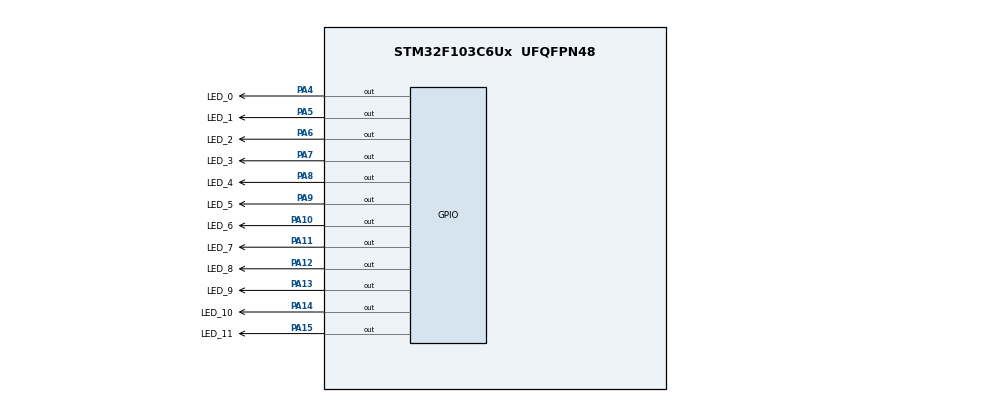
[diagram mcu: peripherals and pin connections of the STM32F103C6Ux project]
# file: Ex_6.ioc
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Mcu.Family=STM32F1
Mcu.Name=STM32F103C6Ux
Mcu.Package=UFQFPN48
NVIC.PriorityGroup=NVIC_PRIORITYGROUP_4
PA10.GPIO_Label=LED_6
PA10.Signal=GPIO_Output
PA11.GPIO_Label=LED_7
PA11.Signal=GPIO_Output
PA12.GPIO_Label=LED_8
PA12.Signal=GPIO_Output
PA13.GPIO_Label=LED_9
PA13.Signal=GPIO_Output
PA14.GPIO_Label=LED_10
PA14.Signal=GPIO_Output
PA15.GPIO_Label=LED_11
PA15.Signal=GPIO_Output
PA4.GPIO_Label=LED_0
PA4.Signal=GPIO_Output
PA5.GPIO_Label=LED_1
PA5.Signal=GPIO_Output
PA6.GPIO_Label=LED_2
PA6.Signal=GPIO_Output
PA7.GPIO_Label=LED_3
PA7.Signal=GPIO_Output
PA8.GPIO_Label=LED_4
PA8.Signal=GPIO_Output
PA9.GPIO_Label=LED_5
PA9.Signal=GPIO_Output
ProjectManager.HeapSize=0x200
ProjectManager.StackSize=0x400
ProjectManager.TargetToolchain=STM32CubeIDE
RCC.APB1Freq_Value=8000000
RCC.APB2Freq_Value=8000000
VP_SYS_VS_ND.Mode=No_Debug
board=custom

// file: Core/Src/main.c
/* USER CODE BEGIN Header */
/**
  ******************************************************************************
  * @file           : main.c
  * @brief          : Main program body
  ******************************************************************************
  * @attention
  *
  * <h2><center>&copy; Copyright (c) 2023 STMicroelectronics.
  * All rights reserved.</center></h2>
  *
  * This software component is licensed by ST under BSD 3-Clause license,
  * the "License"; You may not use this file except in compliance with the
  * License. You may obtain a copy of the License at:
  *                        opensource.org/licenses/BSD-3-Clause
  *
  ******************************************************************************
  */
/* USER CODE END Header */
#include "main.h"

void SystemClock_Config(void);
static void MX_GPIO_Init(void);
/* USER CODE BEGIN PFP */
void ClearAllClock();
void SetNumberOnClock(int num);
void ClearNumberOnClock(int num);
void DisplayClock(int hs, int mins, int secs);
/* USER CODE END PFP */

int main(void)
{

  /* MCU Configuration--------------------------------------------------------*/

  /* Reset of all peripherals, Initializes the Flash interface and the Systick. */
  HAL_Init();

  /* Configure the system clock */
  SystemClock_Config();

  /* Initialize all configured peripherals */
  MX_GPIO_Init();
  /* USER CODE BEGIN 2 */
//  int count = 0;
//  ClearAllClock();
//  while (1)
//  {
//	ClearNumberOnClock(count);
//	++count;
//   	if(count >= 12)
//   	  count = 0;
//   	SetNumberOnClock(count);
//    HAL_Delay(1000);
//  }
  ClearAllClock();
  int hs = 0;
  int mins = 0;
  int secs = 0;
  int count = 0;
  SetNumberOnClock(secs / 5);
  SetNumberOnClock(mins / 5);
  SetNumberOnClock(hs);
  /* USER CODE END 2 */

  /* Infinite loop */
  /* USER CODE BEGIN WHILE */
  while (1)
  {
	if(count >= 5){
	  count = 0;
	  ClearNumberOnClock(secs / 5);
	  secs += 5;
	  if(secs >= 60){
		secs = 0;
		ClearNumberOnClock(mins / 5);
		++mins;
		if(mins >= 60){
		  mins = 0;
		  ClearNumberOnClock(hs);
		  ++hs;
		  if(hs >= 12){
			hs = 0;
		  }
		}
	  }
	  SetNumberOnClock(secs / 5);
	  SetNumberOnClock(mins / 5);
	  SetNumberOnClock(hs);
	}
	++count;
	HAL_Delay(1000);
    /* USER CODE END WHILE */

  }
}

void SystemClock_Config(void)
{
  RCC_OscInitTypeDef RCC_OscInitStruct = {0};
  RCC_ClkInitTypeDef RCC_ClkInitStruct = {0};

  /** Initializes the RCC Oscillators according to the specified parameters
  * in the RCC_OscInitTypeDef structure.
  */
  RCC_OscInitStruct.OscillatorType = RCC_OSCILLATORTYPE_HSI;
  RCC_OscInitStruct.HSIState = RCC_HSI_ON;
  RCC_OscInitStruct.HSICalibrationValue = RCC_HSICALIBRATION_DEFAULT;
  RCC_OscInitStruct.PLL.PLLState = RCC_PLL_NONE;
  if (HAL_RCC_OscConfig(&RCC_OscInitStruct) != HAL_OK)
  {
    Error_Handler();
  }
  /** Initializes the CPU, AHB and APB buses clocks
  */
  RCC_ClkInitStruct.ClockType = RCC_CLOCKTYPE_HCLK|RCC_CLOCKTYPE_SYSCLK
                              |RCC_CLOCKTYPE_PCLK1|RCC_CLOCKTYPE_PCLK2;
  RCC_ClkInitStruct.SYSCLKSource = RCC_SYSCLKSOURCE_HSI;
  RCC_ClkInitStruct.AHBCLKDivider = RCC_SYSCLK_DIV1;
  RCC_ClkInitStruct.APB1CLKDivider = RCC_HCLK_DIV1;
  RCC_ClkInitStruct.APB2CLKDivider = RCC_HCLK_DIV1;

  if (HAL_RCC_ClockConfig(&RCC_ClkInitStruct, FLASH_LATENCY_0) != HAL_OK)
  {
    Error_Handler();
  }
}

static void MX_GPIO_Init(void)
{
  GPIO_InitTypeDef GPIO_InitStruct = {0};

  /* GPIO Ports Clock Enable */
  __HAL_RCC_GPIOA_CLK_ENABLE();

  /*Configure GPIO pin Output Level */
  HAL_GPIO_WritePin(GPIOA, LED_0_Pin|LED_1_Pin|LED_2_Pin|LED_3_Pin
                          |LED_4_Pin|LED_5_Pin|LED_6_Pin|LED_7_Pin
                          |LED_8_Pin|LED_9_Pin|LED_10_Pin|LED_11_Pin, GPIO_PIN_RESET);

  /*Configure GPIO pins : LED_0_Pin LED_1_Pin LED_2_Pin LED_3_Pin
                           LED_4_Pin LED_5_Pin LED_6_Pin LED_7_Pin
                           LED_8_Pin LED_9_Pin LED_10_Pin LED_11_Pin */
  GPIO_InitStruct.Pin = LED_0_Pin|LED_1_Pin|LED_2_Pin|LED_3_Pin
                          |LED_4_Pin|LED_5_Pin|LED_6_Pin|LED_7_Pin
                          |LED_8_Pin|LED_9_Pin|LED_10_Pin|LED_11_Pin;
  GPIO_InitStruct.Mode = GPIO_MODE_OUTPUT_PP;
  GPIO_InitStruct.Pull = GPIO_NOPULL;
  GPIO_InitStruct.Speed = GPIO_SPEED_FREQ_LOW;
  HAL_GPIO_Init(GPIOA, &GPIO_InitStruct);

}

/* USER CODE BEGIN 4 */
/**
  * @brief Turn off all 12 LEDs
  * @param None
  * @retval None
  */
void ClearAllClock(){
  HAL_GPIO_WritePin(LED_0_GPIO_Port, LED_0_Pin, GPIO_PIN_SET);
  HAL_GPIO_WritePin(LED_1_GPIO_Port, LED_1_Pin, GPIO_PIN_SET);
  HAL_GPIO_WritePin(LED_2_GPIO_Port, LED_2_Pin, GPIO_PIN_SET);
  HAL_GPIO_WritePin(LED_3_GPIO_Port, LED_3_Pin, GPIO_PIN_SET);
  HAL_GPIO_WritePin(LED_4_GPIO_Port, LED_4_Pin, GPIO_PIN_SET);
  HAL_GPIO_WritePin(LED_5_GPIO_Port, LED_5_Pin, GPIO_PIN_SET);
  HAL_GPIO_WritePin(LED_6_GPIO_Port, LED_6_Pin, GPIO_PIN_SET);
  HAL_GPIO_WritePin(LED_7_GPIO_Port, LED_7_Pin, GPIO_PIN_SET);
  HAL_GPIO_WritePin(LED_8_GPIO_Port, LED_8_Pin, GPIO_PIN_SET);
  HAL_GPIO_WritePin(LED_9_GPIO_Port, LED_9_Pin, GPIO_PIN_SET);
  HAL_GPIO_WritePin(LED_10_GPIO_Port, LED_10_Pin, GPIO_PIN_SET);
  HAL_GPIO_WritePin(LED_11_GPIO_Port, LED_11_Pin, GPIO_PIN_SET);
}
void SetNumberOnClock(int num){
  switch (num) {
	case 0:
	  HAL_GPIO_WritePin(LED_0_GPIO_Port, LED_0_Pin, GPIO_PIN_RESET);
	  break;
	case 1:
	  HAL_GPIO_WritePin(LED_1_GPIO_Port, LED_1_Pin, GPIO_PIN_RESET);
	  break;
	case 2:
	  HAL_GPIO_WritePin(LED_2_GPIO_Port, LED_2_Pin, GPIO_PIN_RESET);
	  break;
	case 3:
	  HAL_GPIO_WritePin(LED_3_GPIO_Port, LED_3_Pin, GPIO_PIN_RESET);
	  break;
	case 4:
	  HAL_GPIO_WritePin(LED_4_GPIO_Port, LED_4_Pin, GPIO_PIN_RESET);
	  break;
	case 5:
	  HAL_GPIO_WritePin(LED_5_GPIO_Port, LED_5_Pin, GPIO_PIN_RESET);
	  break;
	case 6:
	  HAL_GPIO_WritePin(LED_6_GPIO_Port, LED_6_Pin, GPIO_PIN_RESET);
	  break;
	case 7:
	  HAL_GPIO_WritePin(LED_7_GPIO_Port, LED_7_Pin, GPIO_PIN_RESET);
	  break;
	case 8:
	  HAL_GPIO_WritePin(LED_8_GPIO_Port, LED_8_Pin, GPIO_PIN_RESET);
	  break;
	case 9:
	  HAL_GPIO_WritePin(LED_9_GPIO_Port, LED_9_Pin, GPIO_PIN_RESET);
	  break;
	case 10:
	  HAL_GPIO_WritePin(LED_10_GPIO_Port, LED_10_Pin, GPIO_PIN_RESET);
	  break;
	case 11:
	  HAL_GPIO_WritePin(LED_11_GPIO_Port, LED_11_Pin, GPIO_PIN_RESET);
	  break;
	default:
	  break;
  }
}
void ClearNumberOnClock(int num){
  switch (num) {
	case 0:
	  HAL_GPIO_WritePin(LED_0_GPIO_Port, LED_0_Pin, GPIO_PIN_SET);
	  break;
	case 1:
	  HAL_GPIO_WritePin(LED_1_GPIO_Port, LED_1_Pin, GPIO_PIN_SET);
	  break;
	case 2:
	  HAL_GPIO_WritePin(LED_2_GPIO_Port, LED_2_Pin, GPIO_PIN_SET);
	  break;
	case 3:
	  HAL_GPIO_WritePin(LED_3_GPIO_Port, LED_3_Pin, GPIO_PIN_SET);
	  break;
	case 4:
	  HAL_GPIO_WritePin(LED_4_GPIO_Port, LED_4_Pin, GPIO_PIN_SET);
	  break;
	case 5:
	  HAL_GPIO_WritePin(LED_5_GPIO_Port, LED_5_Pin, GPIO_PIN_SET);
	  break;
	case 6:
	  HAL_GPIO_WritePin(LED_6_GPIO_Port, LED_6_Pin, GPIO_PIN_SET);
	  break;
	case 7:
	  HAL_GPIO_WritePin(LED_7_GPIO_Port, LED_7_Pin, GPIO_PIN_SET);
	  break;
	case 8:
	  HAL_GPIO_WritePin(LED_8_GPIO_Port, LED_8_Pin, GPIO_PIN_SET);
	  break;
	case 9:
	  HAL_GPIO_WritePin(LED_9_GPIO_Port, LED_9_Pin, GPIO_PIN_SET);
	  break;
	case 10:
	  HAL_GPIO_WritePin(LED_10_GPIO_Port, LED_10_Pin, GPIO_PIN_SET);
	  break;
	case 11:
	  HAL_GPIO_WritePin(LED_11_GPIO_Port, LED_11_Pin, GPIO_PIN_SET);
	  break;
	default:
	  break;
  }
}
/* USER CODE END 4 */

void Error_Handler(void)
{
  __disable_irq();
  while (1)
  {
  }
}

/************************ (C) COPYRIGHT STMicroelectronics *****END OF FILE****/
